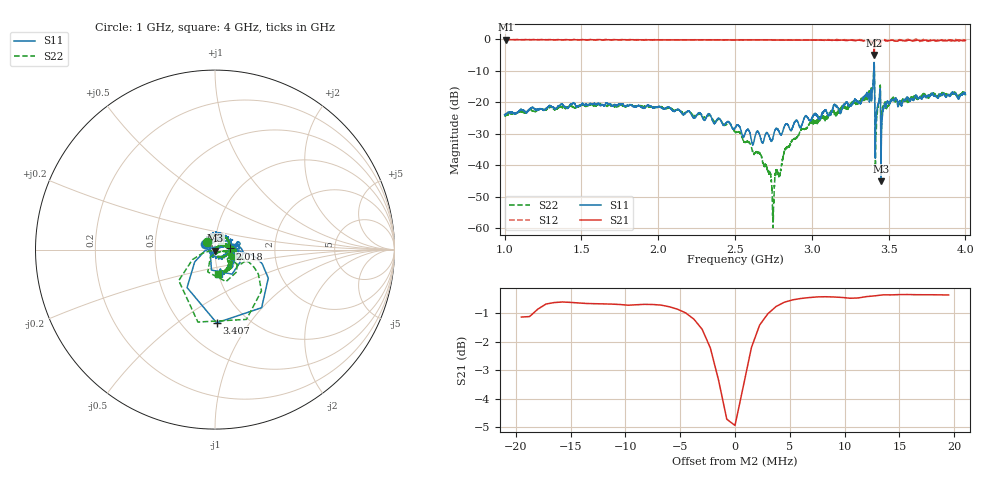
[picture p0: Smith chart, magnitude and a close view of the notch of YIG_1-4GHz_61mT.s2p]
#  HZ  S  RI  R  50.0
! Rohde & Schwarz ZVL13 2Ports - Version 3.31 - 1303.6509k13 SN: 101088
! Date: 2023-03-06 14:39:19
! Data & Calibration Information:
! Trc4:S11(TOSM) Trc2:S21(TOSM) Trc3:S12(TOSM) Trc5:S22(TOSM)
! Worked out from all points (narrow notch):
!   4000 points, 1 GHz to 4 GHz, reference 50 ohm
!   highest |S21| = -0.05 dB at 1.009 GHz (marker M1); lowest = -4.9 dB at 3.407 GHz (marker M2)
!   notch at M2: 4.8 dB deep, 3.33 MHz wide at half that depth
!   lowest |S11| = -45.0 dB at 3.45 GHz (marker M3), VSWR 1.01, Z = 50.2 - j0.519 ohm
!   |S11| at or under -10 dB: start of sweep to 3.403 GHz; 3.408 GHz to end of sweep
!   |S22| runs from -59.8 to -7.1 dB; largest |S21 - S12| = 0.07
!   S11 on the Smith chart (normalised r, x): 1 GHz: 0.89, +0.06; 2.018 GHz: 1.18, +0.02; 3.407 GHz: 0.73, -0.71; 4 GHz: 1.01, -0.27
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1e9  -0.0544 0.0334  -0.6079 -0.7833  -0.6148 -0.7819  -0.046 0.0399
1.009002e9  -0.0533 0.0376  -0.6274 -0.7707  -0.6257 -0.7645  -0.0463 0.0412
1.255064e9  -0.027 0.0692  -0.9325 -0.3246  -0.9407 -0.3325  -0.0154 0.075
1.500375e9  0.0202 0.0912  -0.9671 0.2009  -0.9727 0.1949  0.0392 0.084
2e9  0.0843 0.00417  -0.2398 0.9544  -0.2354 0.9551  0.0852 -0.00326
2.018005e9  0.0821 0.00646  -0.1987 0.9584  -0.2019 0.9657  0.0856 -0.013
2.265566e9  0.0518 -0.0443  0.3339 0.9248  0.3382 0.9245  0.0525 -0.0375
2.500375e9  -0.0114 -0.0378  0.7496 0.6289  0.7497 0.6255  0.0102 -0.0322
2.662416e9  -0.0212 -0.0199  0.9284 0.32  0.9272 0.3179  -0.00153 -0.0153
2.72168e9  -0.0286 -0.00628  0.9614 0.1919  0.9622 0.1934  -0.000295 -0.00741
2.747937e9  -0.0271 0.0082  0.969 0.1327  0.9719 0.1285  0.000736 -0.000715
2.830458e9  -0.03 0.033  0.9743 -0.0456  0.979 -0.0412  0.0131 0.0137
3e9  0.01 0.0552  0.8858 -0.4071  0.8964 -0.409  0.033 0.0351
3.353338e9  0.1213 0.0413  0.308 -0.9148  0.3282 -0.9134  0.1151 -0.0181
3.393848e9  0.153 -0.0164  0.1878 -0.9065  0.1795 -0.902  0.1513 -0.0506
3.406602e9  0.00915 -0.4081  0.1977 -0.5305  0.1569 -0.5372  -0.0955 -0.4036
3.424606e9  0.0702 0.0308  0.2077 -0.9371  0.1993 -0.9814  0.0636 -0.0141
3.432858e9  0.0918 0.0277  0.1668 -0.9343  0.1417 -0.9541  0.0801 -0.0294
3.450113e9  0.00219 -0.00517  0.2144 -0.9153  0.1924 -0.8924  0.00548 -0.0212
3.500375e9  0.0982 6.51e-05  0.043 -0.9512  0.0358 -0.9386  0.0834 -0.0282
3.725431e9  0.1021 -0.0703  -0.4259 -0.8572  -0.4452 -0.8913  0.0937 -0.0982
4e9  0.0239 -0.1322  -0.8474 -0.4587  -0.8638 -0.4126  0.0152 -0.1281
